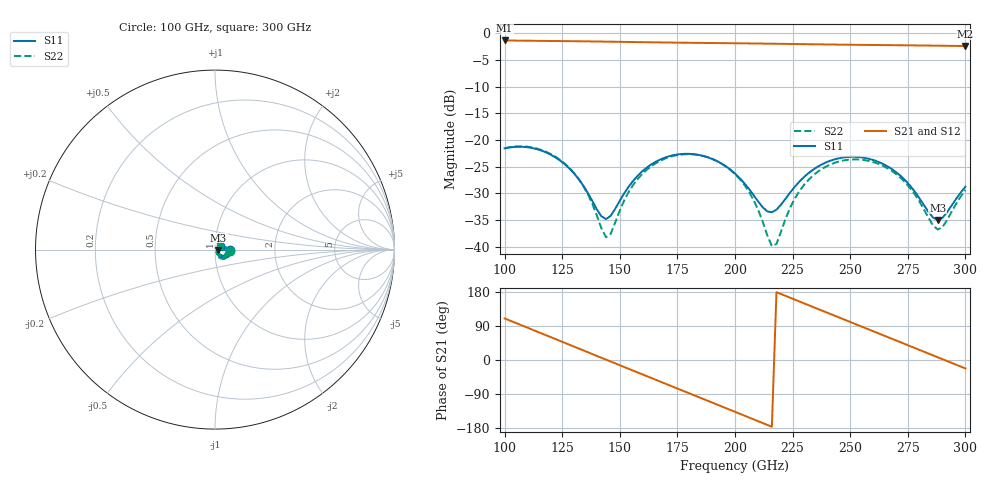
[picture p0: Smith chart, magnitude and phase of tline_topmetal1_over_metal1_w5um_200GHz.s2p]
#  GHZ S DB R 50
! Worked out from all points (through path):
!   101 points, 100 GHz to 300 GHz, reference 50 ohm
!   highest |S21| = -1.37 dB at 100 GHz (marker M1); lowest = -2.4 dB at 300 GHz (marker M2)
!   group delay of S21, straight-line fit = 6.83 ps
!   lowest |S11| = -35.0 dB at 288 GHz (marker M3), VSWR 1.04, Z = 51.8 - j0.335 ohm
!   |S11| at or under -10 dB: start of sweep to end of sweep
!   |S22| runs from -39.9 to -21.2 dB; largest |S21 - S12| = 9.6e-14
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100  -21.59 -2.7  -1.37 109.7  -1.37 109.7  -21.55 -4.6
108  -21.29 -18.0  -1.41 90.0  -1.41 90.0  -21.21 -20.9
116  -21.99 -33.1  -1.45 70.3  -1.45 70.3  -21.88 -37.2
126  -24.51 -49.6  -1.49 45.6  -1.49 45.6  -24.38 -56.2
134  -28.46 -55.8  -1.53 25.8  -1.53 25.8  -28.50 -66.8
144  -34.82 -15.2  -1.59 1.0  -1.59 1.0  -38.21 -26.6
146  -34.23 0.6  -1.60 -3.9  -1.60 -3.9  -37.64 -0.3
156  -27.55 22.7  -1.66 -28.6  -1.66 -28.6  -28.30 26.7
168  -23.58 7.7  -1.74 -58.1  -1.74 -58.1  -23.80 7.9
184  -22.78 -20.5  -1.82 -97.4  -1.82 -97.4  -22.81 -24.2
200  -26.30 -43.9  -1.89 -136.8  -1.89 -136.8  -26.39 -54.7
208  -30.29 -43.0  -1.93 -156.5  -1.93 -156.5  -31.19 -63.3
216  -33.55 -9.2  -1.98 -176.2  -1.98 -176.2  -39.89 -24.2
218  -33.06 2.0  -1.99 178.9  -1.99 178.9  -39.47 4.7
226  -28.74 20.8  -2.04 159.2  -2.04 159.2  -30.94 35.4
234  -25.53 16.0  -2.08 139.6  -2.08 139.6  -26.61 26.2
244  -23.55 1.2  -2.14 115.1  -2.14 115.1  -24.18 8.0
252  -23.16 -12.7  -2.18 95.5  -2.18 95.5  -23.64 -7.6
268  -25.43 -38.9  -2.25 56.3  -2.25 56.3  -25.79 -37.0
278  -29.66 -46.2  -2.30 31.7  -2.30 31.7  -30.16 -47.0
288  -34.98 -10.5  -2.35 7.1  -2.35 7.1  -36.78 -9.4
300  -28.76 25.8  -2.41 -22.3  -2.41 -22.3  -29.39 32.4
